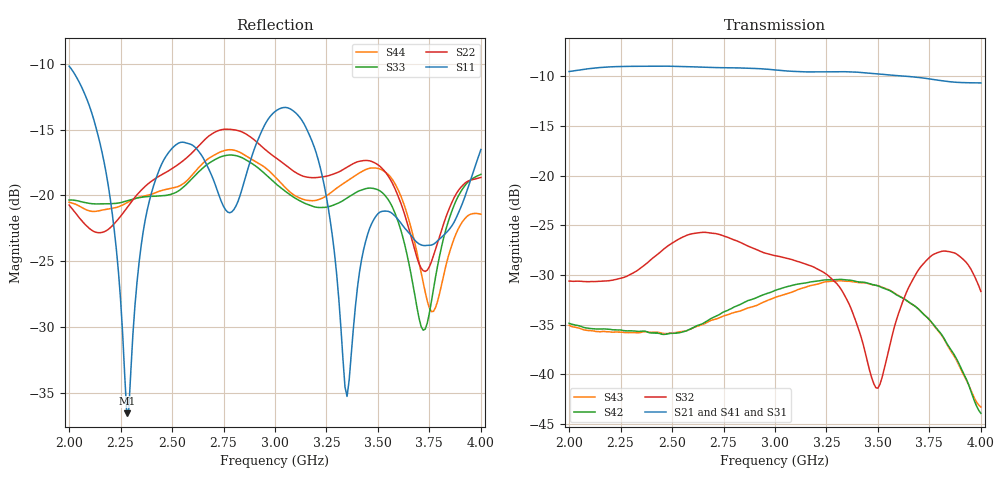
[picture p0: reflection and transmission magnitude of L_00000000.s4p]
!Agilent Technologies,N5224A,MY51441093,A.09.90.21
!Agilent N5224A: A.09.90.21
!Date: Friday, December 19, 2025 16:34:45
!Correction: S11(Full 4 Port(1,2,3,4))
!S12(Full 4 Port(1,2,3,4))
!S13(Full 4 Port(1,2,3,4))
!S14(Full 4 Port(1,2,3,4))
!S21(Full 4 Port(1,2,3,4))
!S22(Full 4 Port(1,2,3,4))
!S23(Full 4 Port(1,2,3,4))
!S24(Full 4 Port(1,2,3,4))
!S31(Full 4 Port(1,2,3,4))
!S32(Full 4 Port(1,2,3,4))
!S33(Full 4 Port(1,2,3,4))
!S34(Full 4 Port(1,2,3,4))
!S41(Full 4 Port(1,2,3,4))
!S42(Full 4 Port(1,2,3,4))
!S43(Full 4 Port(1,2,3,4))
!S44(Full 4 Port(1,2,3,4))
!S4P File: Measurements: <S11,S12,S13,S14>,
!<S21,S22,S23,S24>,
!<S31,S32,S33,S34>,
!<S41,S42,S43,S44>:
# Hz S  dB  R 50
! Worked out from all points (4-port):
!   201 points, 2 GHz to 4 GHz, reference 50 ohm
!   strongest paths, dB at 2 GHz, 2.5 GHz, 3 GHz, 3.5 GHz, 4 GHz:
!     S21: -9.5, -9.0, -9.3, -9.7, -10.7
!     S41: -9.6, -9.0, -9.4, -9.8, -10.6
!     S31: -9.7, -9.2, -9.6, -9.9, -10.9
!     S32: -30.6, -26.8, -28.0, -41.4, -31.6
!     S42: -34.8, -35.9, -31.5, -31.1, -43.9
!     S43: -35.1, -35.8, -32.2, -31.1, -43.3
!   lowest |S11| = -36.6 dB at 2.28 GHz (marker M1), VSWR 1.03, Z = 48.9 + j1.02 ohm
!   |S11| at or under -10 dB: start of sweep to end of sweep
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2e9  -10.17 -47.7  -9.50 -75.2  -9.62 -75.2  -9.68 -75.2
     -9.51 -75.3  -20.74 104.9  -30.54 21.2  -34.95 38.5
     -9.68 -75.0  -30.60 21.5  -20.35 90.3  -35.24 39.0
     -9.56 -75.0  -34.85 38.8  -35.06 39.0  -20.52 99.6
2.28e9  -36.58 135.4  -9.00 138.7  -9.13 138.8  -9.17 138.8
        -8.99 138.6  -20.96 -57.9  -30.04 -174.6  -35.74 110.9
        -9.18 138.9  -30.12 -174.4  -20.42 -43.3  -35.98 109.2
        -9.03 139.0  -35.61 111.0  -35.78 109.2  -20.56 -41.6
2.52e9  -16.14 -53.8  -8.99 15.9  -9.14 16.1  -9.14 16.0
        -8.99 15.8  -17.76 -134.1  -26.46 28.6  -35.97 -111.6
        -9.21 16.1  -26.53 28.7  -19.76 -124.3  -35.97 -110.1
        -9.01 16.0  -35.85 -111.5  -35.77 -110.0  -19.37 -122.3
3.13e9  -14.27 -89.5  -9.51 71.6  -9.69 72.0  -9.68 71.6
        -9.53 71.5  -18.50 115.1  -28.68 48.1  -30.94 87.7
        -9.77 72.2  -28.75 48.3  -20.49 102.5  -31.48 85.4
        -9.60 71.8  -30.84 87.9  -31.33 85.4  -20.26 104.9
3.35e9  -35.29 -99.3  -9.52 -36.7  -9.65 -36.3  -9.65 -36.7
        -9.54 -36.7  -17.85 101.3  -32.42 -64.9  -30.55 -102.3
        -9.73 -36.0  -32.51 -64.6  -20.20 89.0  -30.77 -104.7
        -9.59 -36.5  -30.49 -102.1  -30.62 -104.8  -18.91 89.3
3.64e9  -22.67 -125.8  -9.99 179.8  -10.13 180.0  -10.09 179.6
        -9.99 179.9  -21.98 51.8  -31.56 -104.8  -32.61 2.3
        -10.22 -179.7  -31.65 -104.6  -24.42 35.3  -32.71 3.0
        -10.05 -180.0  -32.57 2.7  -32.58 3.0  -21.33 23.2
4e9  -16.51 51.4  -10.63 5.1  -10.77 5.3  -10.64 4.1
     -10.65 5.4  -18.64 78.1  -31.57 44.6  -43.91 -5.5
     -10.86 5.8  -31.64 45.0  -18.40 75.3  -43.39 -9.4
     -10.61 4.8  -43.91 -5.0  -43.27 -9.3  -21.43 57.8
